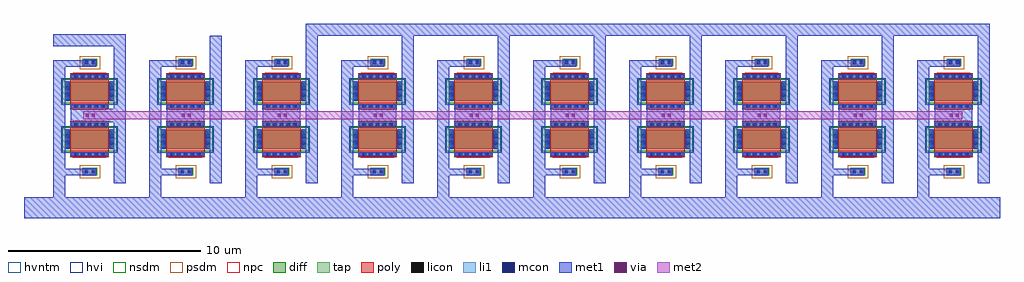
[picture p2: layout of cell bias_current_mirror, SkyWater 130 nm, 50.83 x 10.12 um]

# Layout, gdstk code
import gdstk
lib = gdstk.Library(unit=1e-6, precision=1e-09)
def R(c, l, rs):  # rectangles x0, y0, x1, y1
    for r in rs: c.add(gdstk.rectangle(r[:2], r[2:], *l))
def A(c, l, x, y, w, h, nx, ny, dx, dy):  # array of equal rectangles
    R(c, l, [(x+i*dx, y+j*dy, x+i*dx+w, y+j*dy+h) for i in range(nx) for j in range(ny)])
diff = (65, 20)
tap = (65, 44)
poly = (66, 20)
licon = (66, 44)
li1 = (67, 20)
mcon = (67, 44)
met1 = (68, 20)
via = (68, 44)
met2 = (69, 20)
hvi = (75, 20)
nsdm = (93, 44)
psdm = (94, 20)
npc = (95, 20)
hvntm = (125, 20)

contact_2 = lib.new_cell('contact$2')
R(contact_2, tap, [(-0.385,-0.205,0.385,0.205)])
R(contact_2, licon, [(-0.265,-0.085,-0.095,0.085), (0.095,-0.085,0.265,0.085)])
R(contact_2, li1, [(-0.345,-0.165,0.345,0.165)])

contact_3 = lib.new_cell('contact$3')
R(contact_3, li1, [(-0.345,-0.165,0.345,0.165)])
R(contact_3, mcon, [(-0.265,-0.085,-0.095,0.085), (0.095,-0.085,0.265,0.085)])
R(contact_3, met1, [(-0.325,-0.145,0.325,0.145)])

sky130_fd_pr__nfet_g5v0d = lib.new_cell('sky130_fd_pr__nfet_g5v0d10v5_DPU6YB')
R(sky130_fd_pr__nfet_g5v0d, diff, [(-1.29,-0.5,1.29,0.5)])
R(sky130_fd_pr__nfet_g5v0d, poly, [(-1,-0.94,1,0.94)])
A(sky130_fd_pr__nfet_g5v0d, licon, -0.765, -0.86, 0.17, 0.17, 5, 2, 0.34, 1.55)
A(sky130_fd_pr__nfet_g5v0d, licon, -1.23, -0.425, 0.17, 0.17, 1, 3, 0, 0.34)
A(sky130_fd_pr__nfet_g5v0d, licon, 1.06, -0.425, 0.17, 0.17, 1, 3, 0, 0.34)
R(sky130_fd_pr__nfet_g5v0d, li1, [(-1,-0.86,1,-0.69), (-1.23,-0.52,-1.06,0.52), (1.06,-0.52,1.23,0.52), (-1,0.69,1,0.86)])
A(sky130_fd_pr__nfet_g5v0d, mcon, -0.805, -0.86, 0.17, 0.17, 5, 2, 0.36, 1.55)
R(sky130_fd_pr__nfet_g5v0d, mcon, [(-1.23,-0.265,-1.06,-0.095), (1.06,-0.265,1.23,-0.095), (-1.23,0.095,-1.06,0.265), (1.06,0.095,1.23,0.265)])
R(sky130_fd_pr__nfet_g5v0d, met1, [(-0.98,-0.89,0.98,-0.66), (-1.26,-0.5,-1.03,0.5), (1.03,-0.5,1.26,0.5), (-0.98,0.66,0.98,0.89)])
R(sky130_fd_pr__nfet_g5v0d, hvi, [(-1.475,-0.685,1.475,0.685)])
R(sky130_fd_pr__nfet_g5v0d, nsdm, [(-1.415,-0.625,1.415,0.625)])
R(sky130_fd_pr__nfet_g5v0d, npc, [(-0.865,-0.96,0.865,-0.59), (-0.865,0.59,0.865,0.96)])
R(sky130_fd_pr__nfet_g5v0d, hvntm, [(-1.475,-0.685,1.475,0.685)])

m2_nfet_w1_l2 = lib.new_cell('m2_nfet_w1_l2')
R(m2_nfet_w1_l2, met1, [(-3.255,-4.055,-2.63,3.09), (-0.11,-3.32,0.515,2.665), (-2.63,-2.905,-1.035,-2.57), (-2.35,-0.15,-0.39,0.57), (-2.63,2.755,-1.035,3.09)])
R(m2_nfet_w1_l2, psdm, [(-1.885,-3.065,-0.815,-2.385), (-1.88,2.62,-0.81,3.3)])
r = gdstk.Reference(contact_2, (-1.355,-2.72)); r.repetition = gdstk.Repetition(1, 1, v1=(0,0), v2=(0,0)); m2_nfet_w1_l2.add(r)
r = gdstk.Reference(contact_3, (-1.355,-2.72)); r.repetition = gdstk.Repetition(1, 1, v1=(0,0), v2=(0,0)); m2_nfet_w1_l2.add(r)
r = gdstk.Reference(contact_2, (-1.35,2.965)); r.repetition = gdstk.Repetition(1, 1, v1=(0,0), v2=(0,0)); m2_nfet_w1_l2.add(r)
r = gdstk.Reference(contact_3, (-1.35,2.965)); r.repetition = gdstk.Repetition(1, 1, v1=(0,0), v2=(0,0)); m2_nfet_w1_l2.add(r)
r = gdstk.Reference(sky130_fd_pr__nfet_g5v0d, (-1.37,-1.04)); r.repetition = gdstk.Repetition(1, 2, v1=(0,0), v2=(0,2.5)); m2_nfet_w1_l2.add(r)

contact_4 = lib.new_cell('contact$4')
R(contact_4, met1, [(-0.32,-0.16,0.32,0.16)])
R(contact_4, via, [(-0.235,-0.075,-0.085,0.075), (0.085,-0.075,0.235,0.075)])
R(contact_4, met2, [(-0.32,-0.16,0.32,0.16)])

contact = lib.new_cell('contact')

bias_current_mirror = lib.new_cell('bias_current_mirror')
A(bias_current_mirror, met1, 2.32, -6.975, 0.625, 1.7, 9, 1, 5, 0)
R(bias_current_mirror, met1, [(-7.35,-14.785,43.48,-13.695), (-2.96,-9.795,-2.68,-9.075), (-2.68,-6.975,-2.055,-5.205), (-5.83,-5.825,-2.68,-5.205), (7.32,-5.275,42.945,-4.66)])
R(bias_current_mirror, met2, [(-4.27,-9.635,41.525,-9.215)])
r = gdstk.Reference(m2_nfet_w1_l2, (-2.57,-9.64)); r.repetition = gdstk.Repetition(10, 1, v1=(5,0), v2=(0,0)); bias_current_mirror.add(r)
r = gdstk.Reference(contact_4, (-3.905,-9.425)); r.repetition = gdstk.Repetition(10, 1, v1=(5,0), v2=(0,0)); bias_current_mirror.add(r)
bias_current_mirror.add(gdstk.Reference(contact, (-2.74,2.435)))

lib.write_gds('bias_current_mirror.gds')
